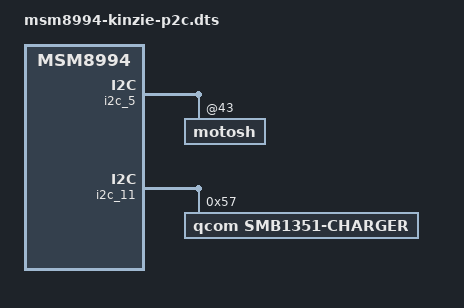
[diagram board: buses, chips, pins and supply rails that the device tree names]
/* Copyright (c) 2015, Motorla Mobility LLC. All rights reserved.
 *
 * This program is free software; you can redistribute it and/or modify
 * it under the terms of the GNU General Public License version 2 and
 * only version 2 as published by the Free Software Foundation.
 *
 * This program is distributed in the hope that it will be useful,
 * but WITHOUT ANY WARRANTY; without even the implied warranty of
 * MERCHANTABILITY or FITNESS FOR A PARTICULAR PURPOSE.  See the
 * GNU General Public License for more details.
 */


/dts-v1/;

#include "msm8994-kinzie-v2.1.dtsi"

/ {
	qcom,board-id = <0x42 0x82c0>;
};

&soc {
	qcom,msm-thermal {
		qcom,config-info = "kinziep2c";
	};

	i2c_5: i2c@f9927000 {
		motosh@43 {
			aod_touch_mode = <1>;
		};
	};
};

&i2c_11 {
	smb1351-charger@57 {
		status = "ok";
		compatible = "qcom,smb1351-charger";
		reg = <0x57>;
		qcom,parallel-charger;
		qcom,float-voltage-mv = <4400>;
		qcom,recharge-mv = <100>;
	};
};
